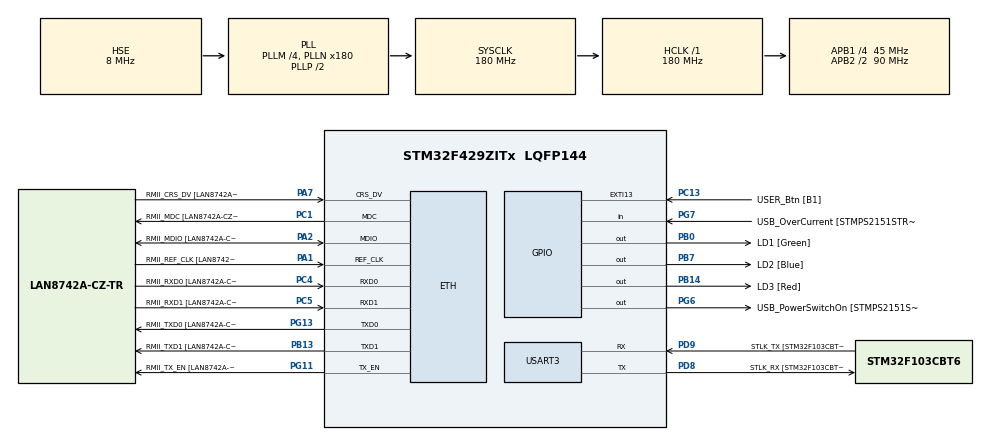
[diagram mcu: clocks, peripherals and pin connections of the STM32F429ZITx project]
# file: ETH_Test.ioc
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ETH.MediaInterface=HAL_ETH_RMII_MODE
ETH.PHY_Name=LAN8742A_PHY_ADDRESS
ETH.PHY_Value=0
ETH.PhyAddress=0
LWIP.BSP.number=1
LWIP.IP_ADDRESS=192.168.000.020
LWIP.LWIP_DHCP=0
LWIP.LWIP_RAW=1
LWIP.Version=v2.1.2_Cube
LWIP0.BSP.STBoard=false
LWIP0.BSP.api=BSP_COMPONENT_DRIVER
LWIP0.BSP.component=LAN8742
LWIP0.BSP.instance=LAN8742
LWIP0.BSP.name=Driver_PHY
LWIP0.BSP.semaphore=S_LAN8742
LWIP0.BSP.solution=LAN8742
Mcu.Family=STM32F4
Mcu.Name=STM32F429ZITx
Mcu.Package=LQFP144
NVIC.PriorityGroup=NVIC_PRIORITYGROUP_4
PA1.GPIO_Label=RMII_REF_CLK [LAN8742A-CZ-TR_REFCLK0]
PA1.Mode=RMII
PA1.Signal=ETH_REF_CLK
PA10.GPIO_Label=USB_ID
PA10.Signal=USB_OTG_FS_ID
PA11.GPIO_Label=USB_DM
PA11.Signal=USB_OTG_FS_DM
PA12.GPIO_Label=USB_DP
PA12.Signal=USB_OTG_FS_DP
PA13.GPIO_Label=TMS
PA13.Mode=Serial_Wire
PA13.Signal=SYS_JTMS-SWDIO
PA14.GPIO_Label=TCK
PA14.Mode=Serial_Wire
PA14.Signal=SYS_JTCK-SWCLK
PA2.GPIO_Label=RMII_MDIO [LAN8742A-CZ-TR_MDIO]
PA2.Mode=RMII
PA2.Signal=ETH_MDIO
PA7.GPIO_Label=RMII_CRS_DV [LAN8742A-CZ-TR_CRS_DV]
PA7.Mode=RMII
PA7.Signal=ETH_CRS_DV
PA8.GPIO_Label=USB_SOF [TP1]
PA8.Signal=USB_OTG_FS_SOF
PA9.GPIO_Label=USB_VBUS
PA9.Signal=USB_OTG_FS_VBUS
PB0.GPIO_Label=LD1 [Green]
PB0.Signal=GPIO_Output
PB13.GPIO_Label=RMII_TXD1 [LAN8742A-CZ-TR_TXD1]
PB13.Mode=RMII
PB13.Signal=ETH_TXD1
PB14.GPIO_Label=LD3 [Red]
PB14.Signal=GPIO_Output
PB7.GPIO_Label=LD2 [Blue]
PB7.Signal=GPIO_Output
PC1.GPIO_Label=RMII_MDC [LAN8742A-CZ-TR_MDC]
PC1.Mode=RMII
PC1.Signal=ETH_MDC
PC13.GPIO_Label=USER_Btn [B1]
PC13.Signal=GPXTI13
PC14/OSC32_IN.Mode=LSE-External-Oscillator
PC14/OSC32_IN.Signal=RCC_OSC32_IN
PC15/OSC32_OUT.Mode=LSE-External-Oscillator
PC15/OSC32_OUT.Signal=RCC_OSC32_OUT
PC4.GPIO_Label=RMII_RXD0 [LAN8742A-CZ-TR_RXD0]
PC4.Mode=RMII
PC4.Signal=ETH_RXD0
PC5.GPIO_Label=RMII_RXD1 [LAN8742A-CZ-TR_RXD1]
PC5.Mode=RMII
PC5.Signal=ETH_RXD1
PD8.GPIO_Label=STLK_RX [STM32F103CBT6_PA3]
PD8.Mode=Asynchronous
PD8.Signal=USART3_TX
PD9.GPIO_Label=STLK_TX [STM32F103CBT6_PA2]
PD9.Mode=Asynchronous
PD9.Signal=USART3_RX
PG11.GPIO_Label=RMII_TX_EN [LAN8742A-CZ-TR_TXEN]
PG11.Mode=RMII
PG11.Signal=ETH_TX_EN
PG13.GPIO_Label=RMII_TXD0 [LAN8742A-CZ-TR_TXD0]
PG13.Mode=RMII
PG13.Signal=ETH_TXD0
PG6.GPIO_Label=USB_PowerSwitchOn [STMPS2151STR_EN]
PG6.Signal=GPIO_Output
PG7.GPIO_Label=USB_OverCurrent [STMPS2151STR_FAULT]
PG7.Signal=GPIO_Input
PH0/OSC_IN.GPIO_Label=MCO [STM32F103CBT6_PA8]
PH0/OSC_IN.Mode=HSE-External-Clock-Source
PH0/OSC_IN.Signal=RCC_OSC_IN
PH1/OSC_OUT.Mode=HSE-External-Clock-Source
PH1/OSC_OUT.Signal=RCC_OSC_OUT
ProjectManager.HeapSize=0x200
ProjectManager.StackSize=0x400
ProjectManager.TargetToolchain=STM32CubeIDE
RCC.48MHZClocksFreq_Value=51428571.428571425
RCC.AHBFreq_Value=180000000
RCC.APB1CLKDivider=RCC_HCLK_DIV4
RCC.APB1Freq_Value=45000000
RCC.APB1TimFreq_Value=90000000
RCC.APB2CLKDivider=RCC_HCLK_DIV2
RCC.APB2Freq_Value=90000000
RCC.APB2TimFreq_Value=180000000
RCC.CortexFreq_Value=180000000
RCC.HCLKFreq_Value=180000000
RCC.HSE_VALUE=8000000
RCC.HSI_VALUE=16000000
RCC.PLLM=4
RCC.PLLMUL=RCC_PLL_MUL9
RCC.PLLN=180
RCC.PLLQ=7
RCC.PLLSourceVirtual=RCC_PLLSOURCE_HSE
RCC.PRESCALERUSB=RCC_USBCLKSOURCE_PLL_DIV1_5
RCC.SYSCLKFreq_VALUE=180000000
RCC.SYSCLKSource=RCC_SYSCLKSOURCE_PLLCLK
RCC.SYSCLKSourceVirtual=RCC_SYSCLKSOURCE_PLLCLK
RCC.USBFreq_Value=48000000
RCC.VCOOutputFreq_Value=360000000
USART3.VirtualMode=VM_ASYNC
VP_LWIP_VS_Enabled.Mode=Enabled
board=NUCLEO-F429ZI

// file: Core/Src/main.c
/* USER CODE BEGIN Header */
/**
  ******************************************************************************
  * @file           : main.c
  * @brief          : Main program body
  ******************************************************************************
  * @attention
  *
  * Copyright (c) 2025 STMicroelectronics.
  * All rights reserved.
  *
  * This software is licensed under terms that can be found in the LICENSE file
  * in the root directory of this software component.
  * If no LICENSE file comes with this software, it is provided AS-IS.
  *
  ******************************************************************************
  */
/* USER CODE END Header */
#include "main.h"
#include "lwip.h"
#include "lwip/tcp.h"

#include "string.h"

UART_HandleTypeDef huart3;

void SystemClock_Config(void);
static void MX_GPIO_Init(void);
static void MX_USART3_UART_Init(void);

/* USER CODE BEGIN 0 */
extern struct netif gnetif;

//소켓 같은 역할의 구조체//
static struct tcp_pcb *client_pcb;

//통신 성공 시 호출 되는 콜백함수(hello stm32를 출력)
err_t tcp_client_connected(void *arg, struct tcp_pcb *tpcb, err_t err){
	if(err == ERR_OK){
		const char *buf = "hello stm32";

		tcp_write(tpcb, buf, strlen(buf), TCP_WRITE_FLAG_COPY);
		tcp_output(tpcb);

	}
	return ERR_OK;
}

void send_tcp_message(void){
	ip_addr_t server_ip;
	//서버 측 컴퓨터 주소를 세팅//
	IP4_ADDR(&server_ip, 192,168,0,10);

	//새로운 tcp용 pcb 생성, (연결상태,ip,포트,송/수신 윈도우,버퍼 콜백 함수 포인터 등등을 담고 있음) //
	client_pcb = tcp_new();
	//pcb 구조체를 성공적으로 확보 했을 시//
	if(client_pcb != NULL){
		//서버와 클라이언트 간 3WAY HandShake 진행 (성공 시 콜백함수 호출)//
		tcp_connect(client_pcb, &server_ip, 5000, tcp_client_connected);
	}

}
/* USER CODE END 0 */

int main(void)
{

  /* MCU Configuration--------------------------------------------------------*/

  /* Reset of all peripherals, Initializes the Flash interface and the Systick. */
  HAL_Init();

  /* Configure the system clock */
  SystemClock_Config();

  /* Initialize all configured peripherals */
  MX_GPIO_Init();
  MX_USART3_UART_Init();
  MX_LWIP_Init();
  /* USER CODE BEGIN 2 */
HAL_Delay(2000);
send_tcp_message();
  /* USER CODE END 2 */

  /* Infinite loop */
  while (1)
  {
	   ethernetif_input(&gnetif); //패킷 수신
		   sys_check_timeouts(); //주기적 관리
  }
}

void SystemClock_Config(void)
{
  RCC_OscInitTypeDef RCC_OscInitStruct = {0};
  RCC_ClkInitTypeDef RCC_ClkInitStruct = {0};

  /** Configure the main internal regulator output voltage
  */
  __HAL_RCC_PWR_CLK_ENABLE();
  __HAL_PWR_VOLTAGESCALING_CONFIG(PWR_REGULATOR_VOLTAGE_SCALE1);

  /** Initializes the RCC Oscillators according to the specified parameters
  * in the RCC_OscInitTypeDef structure.
  */
  RCC_OscInitStruct.OscillatorType = RCC_OSCILLATORTYPE_HSE;
  RCC_OscInitStruct.HSEState = RCC_HSE_BYPASS;
  RCC_OscInitStruct.PLL.PLLState = RCC_PLL_ON;
  RCC_OscInitStruct.PLL.PLLSource = RCC_PLLSOURCE_HSE;
  RCC_OscInitStruct.PLL.PLLM = 4;
  RCC_OscInitStruct.PLL.PLLN = 180;
  RCC_OscInitStruct.PLL.PLLP = RCC_PLLP_DIV2;
  RCC_OscInitStruct.PLL.PLLQ = 7;
  if (HAL_RCC_OscConfig(&RCC_OscInitStruct) != HAL_OK)
  {
    Error_Handler();
  }

  /** Activate the Over-Drive mode
  */
  if (HAL_PWREx_EnableOverDrive() != HAL_OK)
  {
    Error_Handler();
  }

  /** Initializes the CPU, AHB and APB buses clocks
  */
  RCC_ClkInitStruct.ClockType = RCC_CLOCKTYPE_HCLK|RCC_CLOCKTYPE_SYSCLK
                              |RCC_CLOCKTYPE_PCLK1|RCC_CLOCKTYPE_PCLK2;
  RCC_ClkInitStruct.SYSCLKSource = RCC_SYSCLKSOURCE_PLLCLK;
  RCC_ClkInitStruct.AHBCLKDivider = RCC_SYSCLK_DIV1;
  RCC_ClkInitStruct.APB1CLKDivider = RCC_HCLK_DIV4;
  RCC_ClkInitStruct.APB2CLKDivider = RCC_HCLK_DIV2;

  if (HAL_RCC_ClockConfig(&RCC_ClkInitStruct, FLASH_LATENCY_5) != HAL_OK)
  {
    Error_Handler();
  }
}

static void MX_USART3_UART_Init(void)
{

  huart3.Instance = USART3;
  huart3.Init.BaudRate = 115200;
  huart3.Init.WordLength = UART_WORDLENGTH_8B;
  huart3.Init.StopBits = UART_STOPBITS_1;
  huart3.Init.Parity = UART_PARITY_NONE;
  huart3.Init.Mode = UART_MODE_TX_RX;
  huart3.Init.HwFlowCtl = UART_HWCONTROL_NONE;
  huart3.Init.OverSampling = UART_OVERSAMPLING_16;
  if (HAL_UART_Init(&huart3) != HAL_OK)
  {
    Error_Handler();
  }

}

static void MX_GPIO_Init(void)
{
  GPIO_InitTypeDef GPIO_InitStruct = {0};

  /* GPIO Ports Clock Enable */
  __HAL_RCC_GPIOC_CLK_ENABLE();
  __HAL_RCC_GPIOH_CLK_ENABLE();
  __HAL_RCC_GPIOA_CLK_ENABLE();
  __HAL_RCC_GPIOB_CLK_ENABLE();
  __HAL_RCC_GPIOD_CLK_ENABLE();
  __HAL_RCC_GPIOG_CLK_ENABLE();

  /*Configure GPIO pin Output Level */
  HAL_GPIO_WritePin(GPIOB, LD1_Pin|LD3_Pin|LD2_Pin, GPIO_PIN_RESET);

  /*Configure GPIO pin Output Level */
  HAL_GPIO_WritePin(USB_PowerSwitchOn_GPIO_Port, USB_PowerSwitchOn_Pin, GPIO_PIN_RESET);

  /*Configure GPIO pin : USER_Btn_Pin */
  GPIO_InitStruct.Pin = USER_Btn_Pin;
  GPIO_InitStruct.Mode = GPIO_MODE_IT_RISING;
  GPIO_InitStruct.Pull = GPIO_NOPULL;
  HAL_GPIO_Init(USER_Btn_GPIO_Port, &GPIO_InitStruct);

  /*Configure GPIO pins : LD1_Pin LD3_Pin LD2_Pin */
  GPIO_InitStruct.Pin = LD1_Pin|LD3_Pin|LD2_Pin;
  GPIO_InitStruct.Mode = GPIO_MODE_OUTPUT_PP;
  GPIO_InitStruct.Pull = GPIO_NOPULL;
  GPIO_InitStruct.Speed = GPIO_SPEED_FREQ_LOW;
  HAL_GPIO_Init(GPIOB, &GPIO_InitStruct);

  /*Configure GPIO pin : USB_PowerSwitchOn_Pin */
  GPIO_InitStruct.Pin = USB_PowerSwitchOn_Pin;
  GPIO_InitStruct.Mode = GPIO_MODE_OUTPUT_PP;
  GPIO_InitStruct.Pull = GPIO_NOPULL;
  GPIO_InitStruct.Speed = GPIO_SPEED_FREQ_LOW;
  HAL_GPIO_Init(USB_PowerSwitchOn_GPIO_Port, &GPIO_InitStruct);

  /*Configure GPIO pin : USB_OverCurrent_Pin */
  GPIO_InitStruct.Pin = USB_OverCurrent_Pin;
  GPIO_InitStruct.Mode = GPIO_MODE_INPUT;
  GPIO_InitStruct.Pull = GPIO_NOPULL;
  HAL_GPIO_Init(USB_OverCurrent_GPIO_Port, &GPIO_InitStruct);

  /*Configure GPIO pins : USB_SOF_Pin USB_ID_Pin USB_DM_Pin USB_DP_Pin */
  GPIO_InitStruct.Pin = USB_SOF_Pin|USB_ID_Pin|USB_DM_Pin|USB_DP_Pin;
  GPIO_InitStruct.Mode = GPIO_MODE_AF_PP;
  GPIO_InitStruct.Pull = GPIO_NOPULL;
  GPIO_InitStruct.Speed = GPIO_SPEED_FREQ_VERY_HIGH;
  GPIO_InitStruct.Alternate = GPIO_AF10_OTG_FS;
  HAL_GPIO_Init(GPIOA, &GPIO_InitStruct);

  /*Configure GPIO pin : USB_VBUS_Pin */
  GPIO_InitStruct.Pin = USB_VBUS_Pin;
  GPIO_InitStruct.Mode = GPIO_MODE_INPUT;
  GPIO_InitStruct.Pull = GPIO_NOPULL;
  HAL_GPIO_Init(USB_VBUS_GPIO_Port, &GPIO_InitStruct);

}

void Error_Handler(void)
{
  __disable_irq();
  while (1)
  {
  }
}
